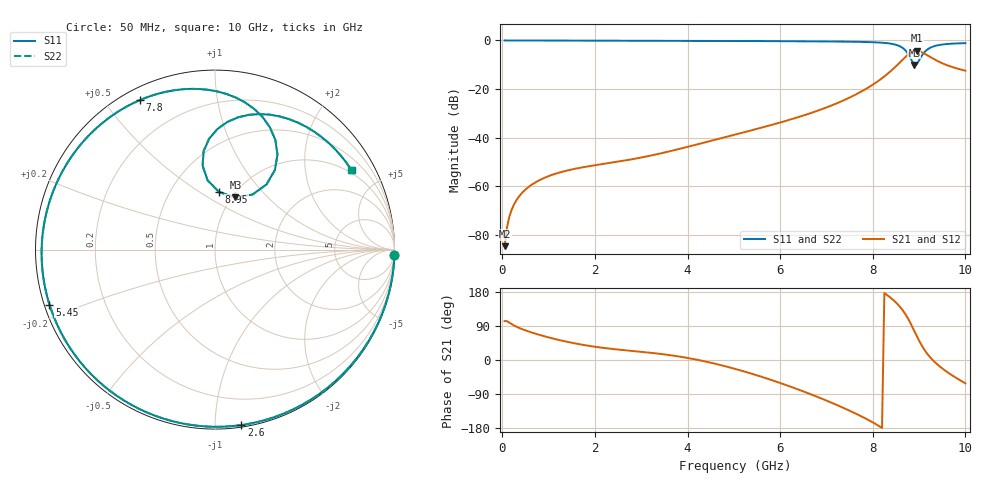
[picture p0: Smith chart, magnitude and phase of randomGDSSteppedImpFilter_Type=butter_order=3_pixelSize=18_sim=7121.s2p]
! freq	dB(S11)	phase(S11)	dB(S12)	phase(S12)
!  dB(S21)	phase(S21)	dB(S22)	phase(S22)
!S-par simulation data
#  GHz  S  DB  R 50
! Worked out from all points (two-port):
!   200 points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, 50 MHz to 10 GHz, reference 50 ohm
!   highest |S21| = -4.24 dB at 8.95 GHz (marker M1); lowest = -84.7 dB at 50 MHz (marker M2)
!   |S21| within 3 dB of the highest: 8.68 GHz to 9.277 GHz (597.4 MHz wide, 6.65 % of centre)
!   lowest |S11| = -10.1 dB at 8.9 GHz (marker M3), VSWR 1.91, Z = 51.8 + j33.4 ohm
!   |S11| at or under -10 dB: 8.896447 GHz to 8.920905 GHz (24.46 MHz wide, 0.275 % of centre)
!   |S22| runs from -10.1 to 0.0 dB; largest |S21 - S12| = 0
!   S11 on the Smith chart (normalised r, x): 50 MHz: 0, -70; 2.6 GHz: 0.01, -1.16; 5.45 GHz: 0.01, -0.16; 7.8 GHz: 0.05, +0.62; 8.95 GHz: 0.85, +0.61; 10 GHz: 0.89, +3.50
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0.05  -0.00 -1.6  -84.70 102.6  -84.70 102.6  -0.00 -1.6
0.25  -0.00 -8.2  -67.64 91.3  -67.64 91.3  -0.00 -8.2
0.5  -0.01 -16.4  -61.40 78.1  -61.40 78.1  -0.01 -16.4
1  -0.04 -32.5  -55.86 59.6  -55.86 59.6  -0.04 -32.5
1.75  -0.07 -55.9  -52.18 39.8  -52.18 39.8  -0.07 -55.9
2.6  -0.10 -81.4  -49.58 26.3  -49.58 26.3  -0.10 -81.4
3.4  -0.13 -104.4  -46.58 16.3  -46.58 16.3  -0.13 -104.4
4.2  -0.17 -126.7  -42.84 0.8  -42.84 0.8  -0.17 -126.7
5.05  -0.22 -150.3  -38.65 -24.2  -38.65 -24.2  -0.22 -150.3
5.45  -0.25 -161.7  -36.65 -38.6  -36.65 -38.6  -0.25 -161.7
6.7  -0.37 159.7  -29.65 -92.2  -29.65 -92.2  -0.37 159.7
7.25  -0.45 139.9  -25.67 -120.1  -25.67 -120.1  -0.45 139.9
7.8  -0.61 116.6  -20.52 -151.6  -20.52 -151.6  -0.61 116.6
8.35  -1.21 85.9  -13.24 167.6  -13.24 167.6  -1.21 85.9
8.55  -2.11 70.2  -9.72 145.4  -9.72 145.4  -2.11 70.2
8.7  -3.96 56.7  -6.87 121.7  -6.87 121.7  -3.96 56.7
8.9  -10.11 68.7  -4.31 75.9  -4.31 75.9  -10.12 68.7
8.95  -9.85 85.9  -4.24 63.2  -4.24 63.2  -9.86 86.0
9.1  -5.15 96.6  -5.26 29.8  -5.26 29.8  -5.16 96.6
9.35  -2.23 75.9  -8.01 -6.8  -8.01 -6.8  -2.23 76.0
9.65  -1.39 53.3  -10.51 -35.4  -10.51 -35.4  -1.39 53.4
10  -1.11 30.2  -12.45 -61.6  -12.45 -61.6  -1.11 30.3
